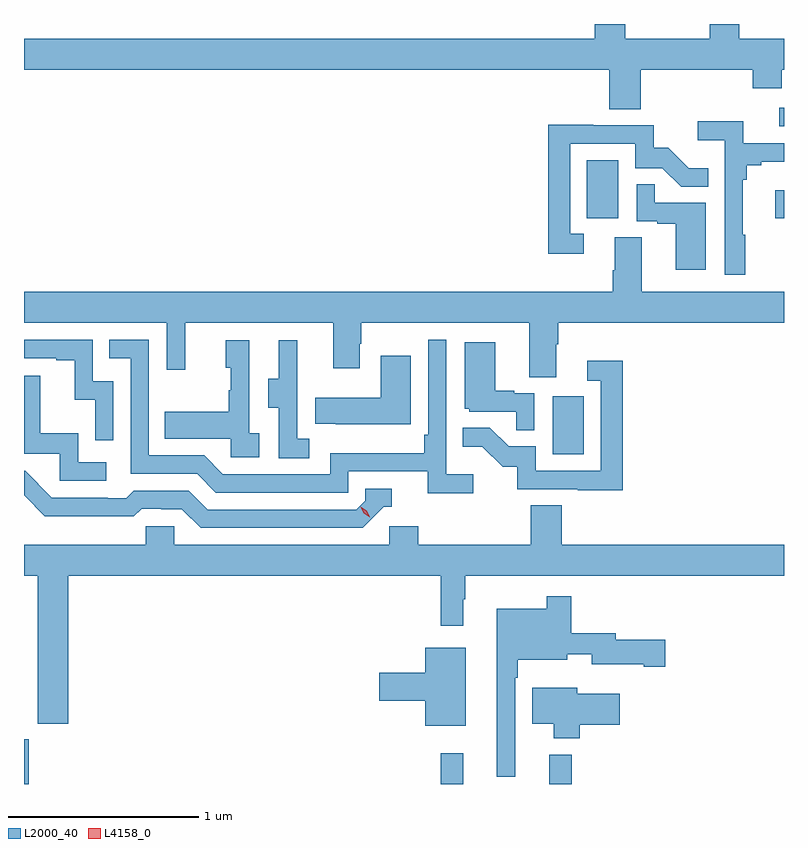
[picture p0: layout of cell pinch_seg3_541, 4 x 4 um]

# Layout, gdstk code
import gdstk
lib = gdstk.Library(unit=1e-6, precision=1e-09)
def R(c, l, rs):  # rectangles x0, y0, x1, y1
    for r in rs: c.add(gdstk.rectangle(r[:2], r[2:], *l))
def P(c, l, *ps):  # polygons
    for p in ps: c.add(gdstk.Polygon(p, *l))
L2000_40 = (2000, 40)
L4158_0 = (4158, 0)

pinch_seg3_541 = lib.new_cell('pinch_seg3_541')
R(pinch_seg3_541, L2000_40, [(1116.957,702.485,1116.982,702.721), (1119.151,702.485,1119.269,702.646), (1119.722,702.485,1119.839,702.64), (1119.74,704.22,1119.904,704.527), (1119.92,705.462,1120.084,705.769), (1120.911,705.463,1120.957,705.61), (1120.931,705.948,1120.957,706.044)])
P(pinch_seg3_541, L2000_40, [(1120.202,706.244),(1120.793,706.244),(1120.793,706.146),(1120.944,706.146),(1120.944,706.244),(1120.957,706.244),(1120.957,706.408),(1120.722,706.408),(1120.722,706.485),(1120.567,706.485),(1120.567,706.408),(1120.122,706.408),(1120.122,706.485),(1119.962,706.485),(1119.962,706.408),(1116.957,706.408),(1116.957,706.244),(1120.037,706.244),(1120.037,706.036),(1120.202,706.036)],
  [(1120.753,705.377),(1120.741,705.377),(1120.741,705.665),(1120.76,705.665),(1120.76,705.742),(1120.837,705.742),(1120.837,705.761),(1120.957,705.761),(1120.957,705.858),(1120.742,705.858),(1120.742,705.974),(1120.503,705.974),(1120.503,705.872),(1120.644,705.872),(1120.644,705.165),(1120.753,705.165)],
  [(1119.904,705.381),(1119.831,705.381),(1119.831,705.855),(1120.173,705.855),(1120.173,705.726),(1120.317,705.726),(1120.415,705.628),(1120.559,705.628),(1120.559,705.727),(1120.455,705.727),(1120.348,705.834),(1120.272,705.834),(1120.272,705.951),(1119.953,705.951),(1119.953,705.956),(1119.715,705.956),(1119.715,705.276),(1119.904,705.276)],
  [(1120.546,705.543),(1120.277,705.543),(1120.277,705.641),(1120.182,705.641),(1120.182,705.447),(1120.289,705.447),(1120.289,705.435),(1120.388,705.435),(1120.388,705.192),(1120.546,705.192)],
  [(1119.757,704.8),(1119.77,704.8),(1119.77,704.912),(1120.957,704.912),(1120.957,705.076),(1120.207,705.076),(1120.207,705.362),(1120.067,705.362),(1120.067,705.188),(1120.055,705.188),(1120.055,705.076),(1116.957,705.076),(1116.957,704.912),(1117.707,704.912),(1117.707,704.664),(1117.805,704.664),(1117.805,704.912),(1118.585,704.912),(1118.585,704.673),(1118.725,704.673),(1118.725,704.801),(1118.733,704.801),(1118.733,704.912),(1119.617,704.912),(1119.617,704.626),(1119.757,704.626)],
  [(1119.322,704.116),(1119.18,704.116),(1119.18,704.824),(1119.084,704.824),(1119.084,704.323),(1119.064,704.323),(1119.064,704.227),(1118.568,704.227),(1118.568,704.115),(1118.004,704.115),(1117.905,704.214),(1117.614,704.214),(1117.614,704.823),(1117.405,704.823),(1117.405,704.727),(1117.518,704.727),(1117.518,704.118),(1117.868,704.118),(1117.967,704.019),(1118.664,704.019),(1118.664,704.13),(1119.083,704.13),(1119.083,704.014),(1119.322,704.014)],
  [(1117.428,704.604),(1117.32,704.604),(1117.32,704.823),(1116.957,704.823),(1116.957,704.727),(1117.127,704.727),(1117.127,704.715),(1117.223,704.715),(1117.223,704.507),(1117.332,704.507),(1117.332,704.295),(1117.428,704.295)],
  [(1118.194,704.33),(1118.142,704.33),(1118.142,704.821),(1118.018,704.821),(1118.018,704.676),(1118.044,704.676),(1118.044,704.558),(1118.034,704.558),(1118.034,704.443),(1117.699,704.443),(1117.699,704.303),(1118.046,704.303),(1118.046,704.205),(1118.194,704.205)],
  [(1118.458,704.303),(1118.394,704.303),(1118.394,704.607),(1118.396,704.607),(1118.396,704.821),(1118.297,704.821),(1118.297,704.619),(1118.243,704.619),(1118.243,704.464),(1118.298,704.464),(1118.298,704.2),(1118.458,704.2)],
  [(1119.642,704.541),(1119.536,704.541),(1119.536,704.554),(1119.436,704.554),(1119.436,704.809),(1119.278,704.809),(1119.278,704.46),(1119.3,704.46),(1119.3,704.445),(1119.547,704.445),(1119.547,704.347),(1119.642,704.347)],
  [(1118.992,704.74),(1118.834,704.74),(1118.834,704.518),(1118.491,704.518),(1118.491,704.381),(1118.599,704.381),(1118.599,704.378),(1118.992,704.378)],
  [(1120.109,704.713),(1119.921,704.713),(1119.921,704.607),(1119.993,704.607),(1119.993,704.133),(1119.651,704.133),(1119.651,704.262),(1119.507,704.262),(1119.409,704.36),(1119.265,704.36),(1119.265,704.261),(1119.369,704.261),(1119.476,704.154),(1119.553,704.154),(1119.553,704.037),(1119.871,704.037),(1119.871,704.032),(1120.109,704.032)],
  [(1117.39,704.178),(1117.242,704.178),(1117.242,704.332),(1117.043,704.332),(1117.043,704.635),(1116.957,704.635),(1116.957,704.223),(1117.146,704.223),(1117.146,704.082),(1117.39,704.082)],
  [(1118.85,703.944),(1118.893,703.944),(1118.893,704.04),(1118.754,704.04),(1118.754,703.977),(1118.706,703.929),(1117.923,703.929),(1117.824,704.028),(1117.535,704.028),(1117.496,703.989),(1117.397,703.989),(1117.397,703.992),(1117.104,703.992),(1116.963,704.133),(1116.957,704.133),(1116.957,704.004),(1117.066,703.895),(1117.302,703.895),(1117.302,703.893),(1117.535,703.893),(1117.577,703.935),(1117.68,703.935),(1117.68,703.932),(1117.787,703.932),(1117.886,703.833),(1118.739,703.833)],
  [(1117.19,703.58),(1119.151,703.58),(1119.151,703.317),(1119.268,703.317),(1119.268,703.457),(1119.28,703.457),(1119.28,703.58),(1120.957,703.58),(1120.957,703.744),(1119.788,703.744),(1119.788,703.952),(1119.623,703.952),(1119.623,703.744),(1119.032,703.744),(1119.032,703.842),(1118.88,703.842),(1118.88,703.744),(1117.749,703.744),(1117.749,703.842),(1117.599,703.842),(1117.599,703.744),(1116.957,703.744),(1116.957,703.58),(1117.03,703.58),(1117.03,702.801),(1117.19,702.801)],
  [(1119.543,703.043),(1119.556,703.043),(1119.556,703.139),(1119.817,703.139),(1119.817,703.169),(1119.944,703.169),(1119.944,703.115),(1120.22,703.115),(1120.22,703.103),(1120.333,703.103),(1120.333,703.245),(1120.072,703.245),(1120.072,703.279),(1119.836,703.279),(1119.836,703.474),(1119.708,703.474),(1119.708,703.408),(1119.446,703.408),(1119.446,702.522),(1119.543,702.522)],
  [(1119.283,703.201),(1119.068,703.201),(1119.068,703.07),(1118.826,703.07),(1118.826,702.923),(1119.068,702.923),(1119.068,702.791),(1119.283,702.791)],
  [(1119.881,702.796),(1120.093,702.796),(1120.093,702.961),(1119.868,702.961),(1119.868,702.991),(1119.632,702.991),(1119.632,702.803),(1119.746,702.803),(1119.746,702.725),(1119.881,702.725)])
P(pinch_seg3_541, L4158_0, [(1118.776,703.89),(1118.745,703.91),(1118.73,703.943),(1118.73,703.943),(1118.73,703.943),(1118.76,703.923),(1118.776,703.89),(1118.776,703.89)])

lib.write_gds('pinch_seg3_541.gds')
